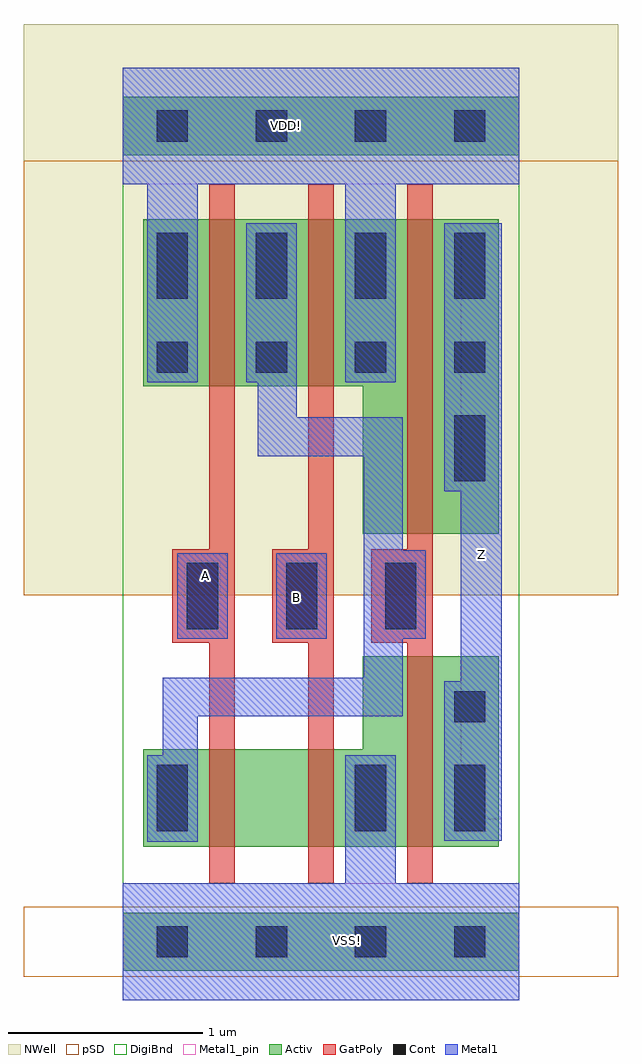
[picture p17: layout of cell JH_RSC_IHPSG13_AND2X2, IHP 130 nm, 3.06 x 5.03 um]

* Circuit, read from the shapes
.subckt JH_RSC_IHPSG13_AND2X2 A B VDD! VSS! Z
XM1 n1 A n2 VSS! sg13_lv_nmos w=0.5u l=0.13u
XM2 VSS! B n1 VSS! sg13_lv_nmos w=0.5u l=0.13u
XM3 Z n2 VSS! VSS! sg13_lv_nmos w=0.98u l=0.13u
XM4 n2 A VDD! VDD! sg13_lv_pmos w=0.86u l=0.13u
XM5 VDD! B n2 VDD! sg13_lv_pmos w=0.86u l=0.13u
XM6 Z n2 VDD! VDD! sg13_lv_pmos w=1.62u l=0.13u
.ends

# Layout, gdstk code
import gdstk
lib = gdstk.Library(unit=1e-6, precision=1e-09)
def R(c, l, rs):  # rectangles x0, y0, x1, y1
    for r in rs: c.add(gdstk.rectangle(r[:2], r[2:], *l))
def A(c, l, x, y, w, h, nx, ny, dx, dy):  # array of equal rectangles
    R(c, l, [(x+i*dx, y+j*dy, x+i*dx+w, y+j*dy+h) for i in range(nx) for j in range(ny)])
def P(c, l, *ps):  # polygons
    for p in ps: c.add(gdstk.Polygon(p, *l))
Activ = (1, 0)
GatPoly = (5, 0)
Cont = (6, 0)
Metal1 = (8, 0)
Metal1_pin = (8, 2)
pSD = (14, 0)
DigiBnd = (16, 0)
NWell = (31, 0)

jh_rsc_ihpsg13_and2x2 = lib.new_cell('JH_RSC_IHPSG13_AND2X2')
R(jh_rsc_ihpsg13_and2x2, Activ, [(0,-0.15,2.04,0.15), (0,4.05,2.04,4.35)])
P(jh_rsc_ihpsg13_and2x2, Activ, [(0.105,0.49),(0.105,0.99),(1.235,0.99),(1.235,1.47),(1.935,1.47),(1.935,0.49)],
  [(1.235,2.1),(1.235,2.86),(0.105,2.86),(0.105,3.72),(1.935,3.72),(1.935,2.1)])
P(jh_rsc_ihpsg13_and2x2, GatPoly, [(0.445,0.3),(0.445,1.54),(0.255,1.54),(0.255,2.02),(0.445,2.02),(0.445,3.9),(0.575,3.9),(0.575,0.3)],
  [(0.955,0.3),(0.955,1.54),(0.77,1.54),(0.77,2.02),(0.955,2.02),(0.955,3.9),(1.085,3.9),(1.085,0.3)],
  [(1.465,0.3),(1.465,1.54),(1.28,1.54),(1.28,2.02),(1.465,2.02),(1.465,3.9),(1.595,3.9),(1.595,0.3)])
A(jh_rsc_ihpsg13_and2x2, Cont, 0.175, -0.08, 0.16, 0.16, 4, 2, 0.51, 3.01)
A(jh_rsc_ihpsg13_and2x2, Cont, 0.33, 1.61, 0.16, 0.34, 3, 1, 0.51, 0)
A(jh_rsc_ihpsg13_and2x2, Cont, 0.175, 3.31, 0.16, 0.34, 4, 1, 0.51, 0)
A(jh_rsc_ihpsg13_and2x2, Cont, 0.175, 4.12, 0.16, 0.16, 4, 1, 0.51, 0)
R(jh_rsc_ihpsg13_and2x2, Cont, [(0.175,0.57,0.335,0.91), (1.195,0.57,1.355,0.91), (1.705,0.57,1.865,0.91), (1.705,1.13,1.865,1.29), (1.705,2.37,1.865,2.71)])
R(jh_rsc_ihpsg13_and2x2, Metal1, [(0.28,1.56,0.54,2), (0.79,1.56,1.05,2)])
P(jh_rsc_ihpsg13_and2x2, Metal1, [(0.125,0.515),(0.125,0.96),(0.205,0.96),(0.205,1.36),(1.24,1.36),(1.24,2.5),(0.695,2.5),(0.695,2.88),(0.635,2.88),(0.635,3.7),(0.895,3.7),(0.895,2.7),(1.44,2.7),(1.44,2.015),(1.56,2.015),(1.56,1.56),(1.44,1.56),(1.44,1.16),(0.385,1.16),(0.385,0.515)],
  [(1.655,0.52),(1.655,1.34),(1.74,1.34),(1.74,2.32),(1.655,2.32),(1.655,3.7),(1.95,3.7),(1.95,0.52)],
  [(0,-0.3),(0,0.3),(1.145,0.3),(1.145,0.96),(1.405,0.96),(1.405,0.3),(2.04,0.3),(2.04,-0.3)],
  [(0.125,2.88),(0.125,3.9),(0,3.9),(0,4.5),(2.04,4.5),(2.04,3.9),(1.405,3.9),(1.405,2.88),(1.145,2.88),(1.145,3.9),(0.385,3.9),(0.385,2.88)])
R(jh_rsc_ihpsg13_and2x2, Metal1_pin, [(0,-0.3,2.04,0.3), (1.74,0.63,1.95,3.7), (0.28,1.56,0.54,2), (0.79,1.56,1.05,2), (0,3.9,2.04,4.5)])
R(jh_rsc_ihpsg13_and2x2, pSD, [(-0.51,-0.18,2.55,0.18), (-0.51,1.785,2.55,4.02)])
R(jh_rsc_ihpsg13_and2x2, DigiBnd, [(0,-0.3,2.04,4.5)])
R(jh_rsc_ihpsg13_and2x2, NWell, [(-0.51,1.785,2.55,4.725)])
jh_rsc_ihpsg13_and2x2.add(gdstk.Label('A', (0.425,1.885), layer=8, texttype=2))
jh_rsc_ihpsg13_and2x2.add(gdstk.Label('B', (0.895,1.77), layer=8, texttype=2))
jh_rsc_ihpsg13_and2x2.add(gdstk.Label('VDD!', (0.84,4.2), layer=8, texttype=2))
jh_rsc_ihpsg13_and2x2.add(gdstk.Label('VSS!', (1.155,0.005), layer=8, texttype=2))
jh_rsc_ihpsg13_and2x2.add(gdstk.Label('Z', (1.845,1.995), layer=8, texttype=2))

lib.write_gds('JH_RSC_IHPSG13_AND2X2.gds')
